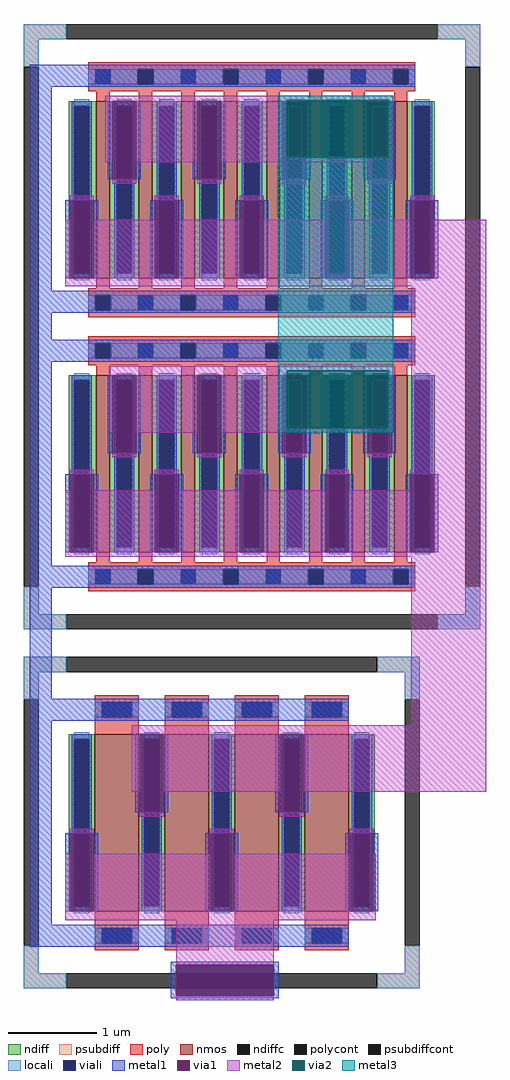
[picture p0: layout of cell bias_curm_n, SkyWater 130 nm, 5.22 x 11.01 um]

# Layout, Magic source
magic
tech sky130A
magscale 1 2
<< poly >>
rect 132 2060 870 2076
rect 132 2026 244 2060
rect 278 2026 436 2060
rect 470 2026 628 2060
rect 662 2026 820 2060
rect 854 2026 870 2060
rect 132 2010 870 2026
rect 132 1550 870 1566
rect 132 1516 148 1550
rect 182 1516 340 1550
rect 374 1516 532 1550
rect 566 1516 724 1550
rect 758 1516 870 1550
rect 132 1500 870 1516
rect 132 1442 870 1458
rect 132 1408 148 1442
rect 182 1408 340 1442
rect 374 1408 532 1442
rect 566 1408 724 1442
rect 758 1408 870 1442
rect 132 1392 870 1408
rect 132 932 870 948
rect 132 898 244 932
rect 278 898 436 932
rect 470 898 628 932
rect 662 898 820 932
rect 854 898 870 932
rect 132 882 870 898
<< polycont >>
rect 244 2026 278 2060
rect 436 2026 470 2060
rect 628 2026 662 2060
rect 820 2026 854 2060
rect 148 1516 182 1550
rect 340 1516 374 1550
rect 532 1516 566 1550
rect 724 1516 758 1550
rect 148 1408 182 1442
rect 340 1408 374 1442
rect 532 1408 566 1442
rect 724 1408 758 1442
rect 244 898 278 932
rect 436 898 470 932
rect 628 898 662 932
rect 820 898 854 932
<< locali >>
rect 132 2026 244 2060
rect 278 2026 436 2060
rect 470 2026 628 2060
rect 662 2026 820 2060
rect 854 2026 870 2060
rect 132 1516 148 1550
rect 182 1516 340 1550
rect 374 1516 532 1550
rect 566 1516 724 1550
rect 758 1516 870 1550
rect 132 1408 148 1442
rect 182 1408 340 1442
rect 374 1408 532 1442
rect 566 1408 724 1442
rect 758 1408 870 1442
rect 132 898 244 932
rect 278 898 436 932
rect 470 898 628 932
rect 662 898 820 932
rect 854 898 870 932
<< viali >>
rect 244 2026 278 2060
rect 436 2026 470 2060
rect 628 2026 662 2060
rect 820 2026 854 2060
rect 148 1516 182 1550
rect 340 1516 374 1550
rect 532 1516 566 1550
rect 724 1516 758 1550
rect 148 1408 182 1442
rect 340 1408 374 1442
rect 532 1408 566 1442
rect 724 1408 758 1442
rect 244 898 278 932
rect 436 898 470 932
rect 628 898 662 932
rect 820 898 854 932
rect 330 -30 550 40
<< metal1 >>
rect 0 2060 870 2070
rect 0 2026 244 2060
rect 278 2026 436 2060
rect 470 2026 628 2060
rect 662 2026 820 2060
rect 854 2026 870 2060
rect 0 2020 870 2026
rect 0 1560 50 2020
rect 176 1812 186 1988
rect 240 1812 250 1988
rect 368 1812 378 1988
rect 432 1812 442 1988
rect 560 1812 570 1988
rect 624 1812 634 1988
rect 752 1812 762 1988
rect 816 1812 826 1988
rect 80 1588 90 1764
rect 144 1588 154 1764
rect 272 1588 282 1764
rect 336 1588 346 1764
rect 464 1588 474 1764
rect 528 1588 538 1764
rect 656 1588 666 1764
rect 720 1588 730 1764
rect 848 1588 858 1764
rect 912 1588 922 1764
rect 0 1550 870 1560
rect 0 1516 148 1550
rect 182 1516 340 1550
rect 374 1516 532 1550
rect 566 1516 724 1550
rect 758 1516 870 1550
rect 0 1510 870 1516
rect 0 1450 50 1510
rect 0 1442 870 1450
rect 0 1408 148 1442
rect 182 1408 340 1442
rect 374 1408 532 1442
rect 566 1408 724 1442
rect 758 1408 870 1442
rect 0 1400 870 1408
rect 0 940 50 1400
rect 176 1194 186 1370
rect 240 1194 250 1370
rect 368 1194 378 1370
rect 432 1194 442 1370
rect 560 1194 570 1370
rect 624 1194 634 1370
rect 752 1194 762 1370
rect 816 1194 826 1370
rect 80 970 90 1146
rect 144 970 154 1146
rect 272 970 282 1146
rect 336 970 346 1146
rect 464 970 474 1146
rect 528 970 538 1146
rect 656 970 666 1146
rect 720 970 730 1146
rect 848 970 858 1146
rect 912 970 922 1146
rect 0 932 870 940
rect 0 898 244 932
rect 278 898 436 932
rect 470 898 628 932
rect 662 898 820 932
rect 854 898 870 932
rect 0 890 870 898
rect 0 640 50 890
rect 0 590 720 640
rect 0 130 50 590
rect 238 384 248 560
rect 302 384 312 560
rect 554 384 564 560
rect 618 384 628 560
rect 80 160 90 336
rect 144 160 154 336
rect 396 160 406 336
rect 460 160 470 336
rect 712 160 722 336
rect 776 160 786 336
rect 0 80 720 130
rect 318 40 562 46
rect 318 -30 330 40
rect 550 -30 562 40
rect 318 -36 562 -30
<< via1 >>
rect 186 1812 240 1988
rect 378 1812 432 1988
rect 570 1812 624 1988
rect 762 1812 816 1988
rect 90 1588 144 1764
rect 282 1588 336 1764
rect 474 1588 528 1764
rect 666 1588 720 1764
rect 858 1588 912 1764
rect 186 1194 240 1370
rect 378 1194 432 1370
rect 570 1194 624 1370
rect 762 1194 816 1370
rect 90 970 144 1146
rect 282 970 336 1146
rect 474 970 528 1146
rect 666 970 720 1146
rect 858 970 912 1146
rect 248 384 302 560
rect 564 384 618 560
rect 90 160 144 336
rect 406 160 460 336
rect 722 160 776 336
rect 330 -30 550 40
<< metal2 >>
rect 170 1990 820 2000
rect 170 1988 580 1990
rect 810 1988 820 1990
rect 170 1850 186 1988
rect 240 1850 378 1988
rect 186 1802 240 1812
rect 432 1850 570 1988
rect 378 1802 432 1812
rect 624 1850 762 1860
rect 570 1802 624 1812
rect 816 1850 820 1988
rect 762 1802 816 1812
rect 90 1764 144 1774
rect 80 1588 90 1720
rect 282 1764 336 1774
rect 144 1588 282 1720
rect 474 1764 528 1774
rect 336 1588 474 1720
rect 666 1764 720 1774
rect 528 1588 666 1720
rect 858 1764 912 1774
rect 720 1588 858 1720
rect 912 1588 1030 1720
rect 80 1570 1030 1588
rect 180 1380 820 1390
rect 180 1370 580 1380
rect 810 1370 820 1380
rect 180 1240 186 1370
rect 240 1240 378 1370
rect 186 1184 240 1194
rect 432 1240 570 1370
rect 378 1184 432 1194
rect 624 1240 762 1250
rect 570 1184 624 1194
rect 816 1240 820 1370
rect 762 1184 816 1194
rect 860 1156 1030 1570
rect 90 1146 144 1156
rect 80 970 90 1110
rect 282 1146 336 1156
rect 144 970 282 1110
rect 474 1146 528 1156
rect 336 970 474 1110
rect 666 1146 720 1156
rect 528 970 666 1110
rect 858 1146 1030 1156
rect 720 970 858 1110
rect 912 970 1030 1146
rect 80 960 1030 970
rect 860 580 1030 960
rect 230 560 1030 580
rect 230 430 248 560
rect 302 430 564 560
rect 248 374 302 384
rect 618 430 1030 560
rect 564 374 618 384
rect 90 336 144 346
rect 80 160 90 290
rect 406 336 460 346
rect 144 160 406 290
rect 722 336 776 346
rect 460 160 722 290
rect 776 160 780 290
rect 80 140 780 160
rect 330 40 550 140
rect 330 -40 550 -30
<< via2 >>
rect 580 1988 810 1990
rect 580 1860 624 1988
rect 624 1860 762 1988
rect 762 1860 810 1988
rect 580 1370 810 1380
rect 580 1250 624 1370
rect 624 1250 762 1370
rect 762 1250 810 1370
<< metal3 >>
rect 560 1990 820 2000
rect 560 1860 580 1990
rect 810 1860 820 1990
rect 560 1380 820 1860
rect 560 1250 580 1380
rect 810 1250 820 1380
rect 560 1240 820 1250
use sky130_fd_pr__nfet_01v8_6YE2KS  sky130_fd_pr__nfet_01v8_6YE2KS_0
transform 1 0 433 0 1 360
box -483 -410 483 410
use sky130_fd_pr__nfet_01v8_QQ8PGA  sky130_fd_pr__nfet_01v8_QQ8PGA_0
transform 1 0 501 0 1 1479
box -551 -719 551 719
<< end >>

# cell sky130_fd_pr__nfet_01v8_6YE2KS: kit device sky130_fd_pr__nfet_01v8, w 2 l 0.5 m 1 nf 4 diffcov 100 polycov 100 guard 1 glc 1 grc 1 gtc 1 gbc 1 tbcov 100 rlcov 100 topc 1 botc 1 poverlap 0 doverlap 1 lmin 0.15 wmin 0.42 compatible {sky130_fd_pr__nfet_01v8 sky130_fd_pr__nfet_01v8_lvt sky130_fd_bs_flash__special_sonosfet_star sky130_fd_pr__nfet_g5v0d10v5 sky130_fd_pr__nfet_05v0_nvt sky130_fd_pr__nfet_03v3_nvt} full_metal 1 viasrc 100 viadrn 100 viagate 100 viagb 0 viagr 0 viagl 0 viagt 0

# cell sky130_fd_pr__nfet_01v8_QQ8PGA: kit device sky130_fd_pr__nfet_01v8, w 2 l 0.150 m 2 nf 8 diffcov 100 polycov 100 guard 1 glc 1 grc 1 gtc 1 gbc 1 tbcov 100 rlcov 100 topc 1 botc 1 poverlap 0 doverlap 1 lmin 0.15 wmin 0.42 compatible {sky130_fd_pr__nfet_01v8 sky130_fd_pr__nfet_01v8_lvt sky130_fd_bs_flash__special_sonosfet_star sky130_fd_pr__nfet_g5v0d10v5 sky130_fd_pr__nfet_05v0_nvt sky130_fd_pr__nfet_03v3_nvt} full_metal 1 viasrc 100 viadrn 100 viagate 100 viagb 0 viagr 0 viagl 0 viagt 0
